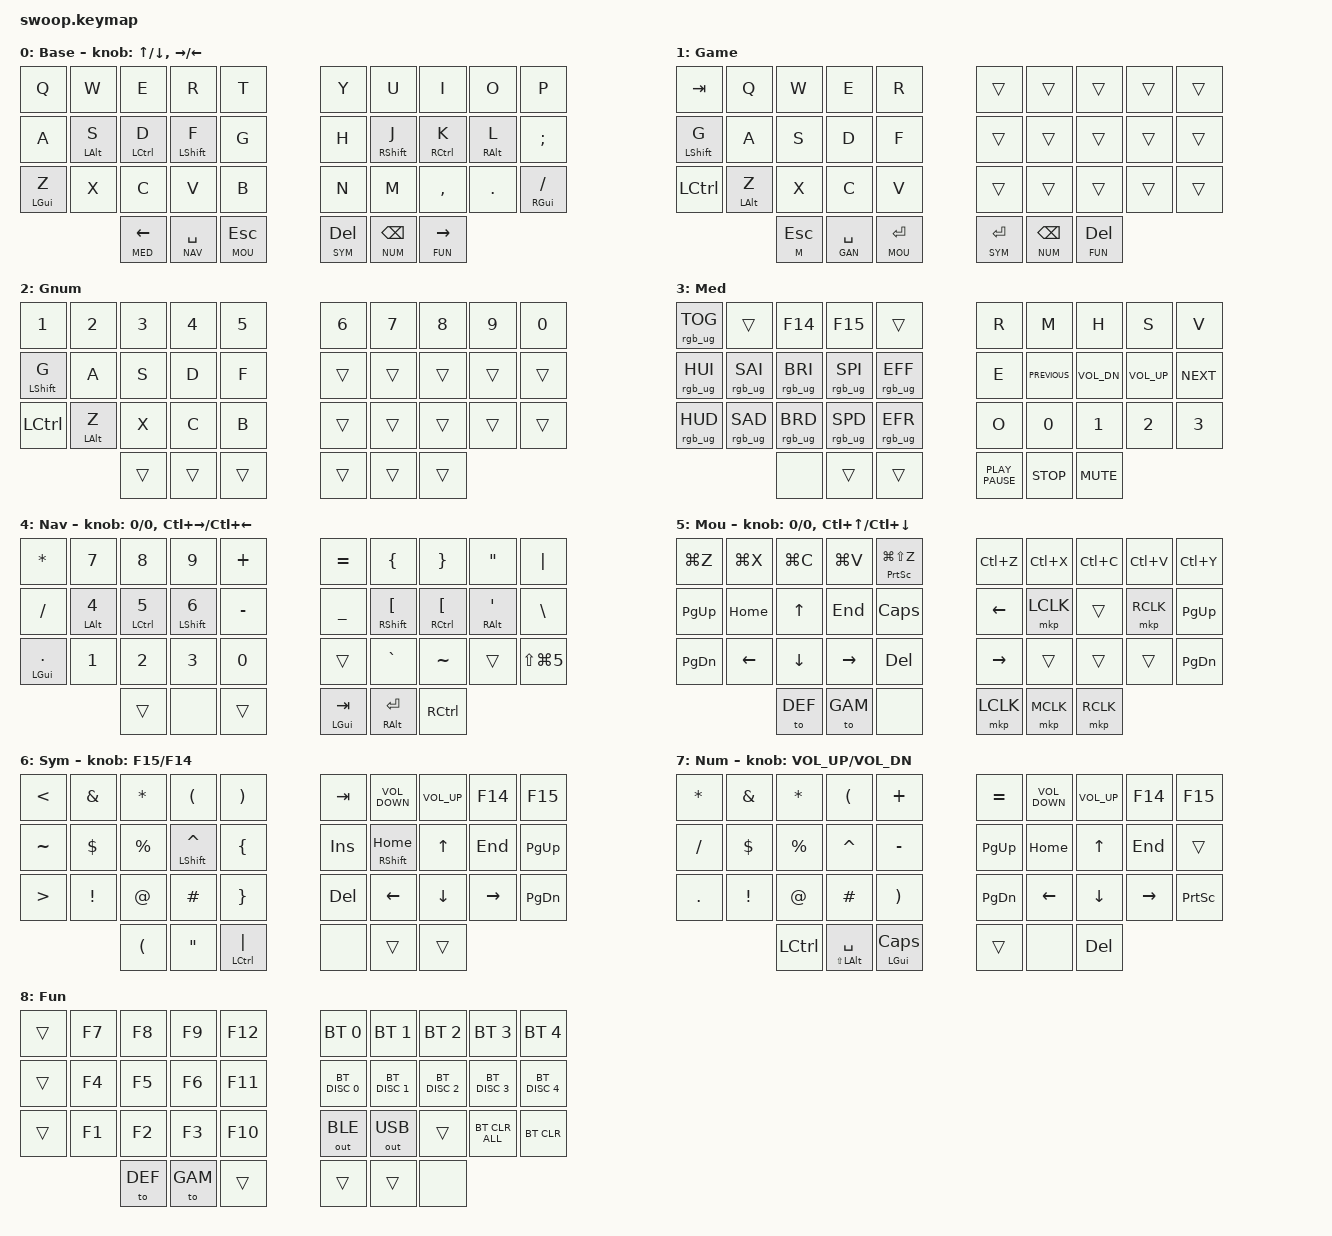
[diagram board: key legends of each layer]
/*
 * Copyright (c) 2020 The ZMK Contributors
 *
 * SPDX-License-Identifier: MIT
 */
//#include "zmk-nodefree-config/helper.h"
//#include "zmk-nodefree-config/keypos_def/keypos_36keys.h"

#include <behaviors.dtsi>
#include <dt-bindings/zmk/bt.h>
#include <dt-bindings/zmk/keys.h>
#include <dt-bindings/zmk/mouse.h>
#include <dt-bindings/zmk/outputs.h>
#include <dt-bindings/zmk/rgb.h>

#define KEYS_L LT0 LT1 LT2 LT3 LT4 LM0 LM1 LM2 LM3 LM4 LB0 LB1 LB2 LB3 LB4  /* left hand  */
#define KEYS_R RT0 RT1 RT2 RT3 RT4 RM0 RM1 RM2 RM3 RM4 RB0 RB1 RB2 RB3 RB4  /* right hand */
#define THUMBS LH2 LH1 LH0 RH0 RH1 RH2                                      /* thumbs     */
#define DEF 0
#define GAM 1
#define GAN 2
#define MED 3
#define NAV 4
#define MOU 5
#define SYM 6
#define NUM 7
#define FUN 8

// Combos
//#undef COMBO_HOOK
//#define COMBO_HOOK
//#define COMBO_TERM_FAST 10
//#define COMBO_TERM_SLOW 50
// CAPS WORD
// -----------------------------------------------------------------------------------------
// tap      |   Q   |   W   |   E   |   R   |   T   |   |   Y   |   U   |   I   |   O   |   P   |
//          _____________________________________________________________________________________
// tap      |   A   |   S   |   D   |XXXFXXX|   G   |   |   H   |XXXJXXX|   K   |   L   |   ;   |
//          _____________________________________________________________________________________
// tap      |   Z   |   X   |   C   |   V   |   B   |   |   N   |   M   |   ,   |   .   |   /   |
//
// tap                      |  ESC  |  ENT  |  TAB  |   | BSPC  |  SPC  |  DEL  |
//ZMK_COMBO(caps, &caps_word, LM1 RM1, DEF, COMBO_TERM_SLOW)
//&caps_word {
//continue-list = <UNDERSCORE MINUS>;
//};
// REFRESH (F5)
// -----------------------------------------------------------------------------------------
// tap      |XXXQXXX|XXXWXXX|   E   |   R   |   T   |   |   Y   |   U   |   I   |   O   |   P   |
//          _____________________________________________________________________________________
// tap      |   A   |   S   |   D   |   F   |   G   |   |   H   |   J   |   K   |   L   |   ;   |
//          _____________________________________________________________________________________
// tap      |   Z   |   X   |   C   |   V   |   B   |   |   N   |   M   |   ,   |   .   |   /   |
//
// tap                      |  ESC  |  ENT  |  TAB  |   | BSPC  |  SPC  |  DEL  |
//ZMK_COMBO(refr, &kp F5, LT4 LT3, DEF, COMBO_TERM_FAST) 
// PASTE
// -----------------------------------------------------------------------------------------
// tap      |   Q   |   W   |   E   |   R   |   T   |   |   Y   |   U   |   I   |   O   |   P   |
//          _____________________________________________________________________________________
// tap      |   A   |   S   |   D   |   F   |   G   |   |   H   |   J   |   K   |   L   |   ;   |
//          _____________________________________________________________________________________
// tap      |   Z   |   X   |   C   |XXXVXXX|XXXBXXX|   |   N   |   M   |   ,   |   .   |   /   |
//
// tap                      |  ESC  |  ENT  |  TAB  |   | BSPC  |  SPC  |  DEL  |
//ZMK_COMBO(paste, &kp LC(V), LB0 LB1, DEF, COMBO_TERM_SLOW)
// COPY
// -----------------------------------------------------------------------------------------
// tap      |   Q   |   W   |   E   |   R   |   T   |   |   Y   |   U   |   I   |   O   |   P   |
//          _____________________________________________________________________________________
// tap      |   A   |   S   |   D   |   F   |   G   |   |   H   |   J   |   K   |   L   |   ;   |
//          _____________________________________________________________________________________
// tap      |   Z   |   X   |XXXCXXX|XXXVXXX|   B   |   |   N   |   M   |   ,   |   .   |   /   |
//
// tap                      |  ESC  |  ENT  |  TAB  |   | BSPC  |  SPC  |  DEL  |
//ZMK_COMBO(copy, &kp LC(C), LB1 LB2, DEF, COMBO_TERM_SLOW)
// CUT
// -----------------------------------------------------------------------------------------
// tap      |   Q   |   W   |   E   |   R   |   T   |   |   Y   |   U   |   I   |   O   |   P   |
//          _____________________________________________________________________________________
// tap      |   A   |   S   |   D   |   F   |   G   |   |   H   |   J   |   K   |   L   |   ;   |
//          _____________________________________________________________________________________
// tap      |   Z   |XXXXXXX|XXXCXXX|   V   |   B   |   |   N   |   M   |   ,   |   .   |   /   |
//
// tap                      |  ESC  |  ENT  |  TAB  |   | BSPC  |  SPC  |  DEL  |
//ZMK_COMBO(cut, &kp LC(X), LB2 LB3, DEF, COMBO_TERM_SLOW)
// UNDO
// -----------------------------------------------------------------------------------------
// tap      |   Q   |XXXWXXX|XXXEXXX|   R   |   T   |   |   Y   |   U   |   I   |   O   |   P   |
//          _____________________________________________________________________________________
// tap      |   A   |   S   |   D   |   F   |   G   |   |   H   |   J   |   K   |   L   |   ;   |
//          _____________________________________________________________________________________
// tap      |   Z   |   X   |   C   |   V   |   B   |   |   N   |   M   |   ,   |   .   |   /   |
//
// tap                      |  ESC  |  ENT  |  TAB  |   | BSPC  |  SPC  |  DEL  |
//ZMK_COMBO(undo, &kp LC(Z), LT2 LT3, DEF, COMBO_TERM_SLOW)
// REDO
// -----------------------------------------------------------------------------------------
// tap      |   Q   |   W   |XXXEXXX|XXXRXXX|   T   |   |   Y   |   U   |   I   |   O   |   P   |
//          _____________________________________________________________________________________
// tap      |   A   |   S   |   D   |   F   |   G   |   |   H   |   J   |   K   |   L   |   ;   |
//          _____________________________________________________________________________________
// tap      |   Z   |   X   |   C   |   V   |   B   |   |   N   |   M   |   ,   |   .   |   /   |
//
// tap                      |  ESC  |  ENT  |  TAB  |   | BSPC  |  SPC  |  DEL  |
//ZMK_COMBO(redo, &kp LC(Y), LT1 LT2, DEF, COMBO_TERM_SLOW)
// APOSTROPHE
// -----------------------------------------------------------------------------------------
// tap      |   Q   |   W   |   E   |   R   |   T   |   |   Y   |   U   |   I   |   O   |   P   |
//          ___________________________________________________________________
// tap      |   A   |   S   |   D   |   F   |   G   |   |   H   |   J   |   K   |XXXLXXX|XXX;XXX|
//          ___________________________________________________________________
// tap      |   Z   |   X   |   C   |   V   |   B   |   |   N   |   M   |   ,   |   .   |   /   |
//
// tap                      |  ESC  |  ENT  |  TAB  |   | BSPC  |  SPC  |  DEL  |
//ZMK_COMBO(apos, &kp APOS, RM3 RM4, DEF, COMBO_TERM_SLOW)

&mt {
    flavor = "tap-preferred";
    tapping-term-ms = <250>;
    quick-tap-ms = <175>;
    require-prior-idle-ms = <150>;
};

&lt { quick-tap-ms = <250>; };

/ {
    combos {
        compatible = "zmk,combos";

        refr {
            bindings = <&kp F5>;
            key-positions = <0 1>;
            layers = <0>;
        };

        undo {
            bindings = <&kp LC(Z)>;
            key-positions = <1 2>;
            layers = <0>;
        };

        redo {
            bindings = <&kp LC(Y)>;
            key-positions = <2 3>;
            layers = <0>;
        };

        apos {
            bindings = <&kp SINGLE_QUOTE>;
            key-positions = <18 19>;
            layers = <0>;
        };

        cut {
            bindings = <&kp LC(X)>;
            key-positions = <21 22>;
            layers = <0>;
        };

        copy {
            bindings = <&kp LC(C)>;
            key-positions = <22 23>;
            layers = <0>;
        };

        paste {
            bindings = <&kp LC(V)>;
            key-positions = <23 24>;
            layers = <0>;
        };

        caps {
            bindings = <&bh_capsword>;
            key-positions = <13 16>;
            layers = <0>;
        };

        bootL {
            bindings = <&bootloader>;
            key-positions = <0 20>;
            layers = <0>;
        };

        bootR {
            bindings = <&bootloader>;
            key-positions = <9 29>;
            layers = <0>;
        };

        lshift {
            bindings = <&kp LEFT_SHIFT>;
            key-positions = <13 14>;
            layers = <0>;
        };
    };

    behaviors {
        bh_capsword: bh_capsword {
            compatible = "zmk,behavior-caps-word";
            label = "BH_CAPSWORD";
            #binding-cells = <0>;
            continue-list = <UNDERSCORE>;
        };
    };

    keymap {
        compatible = "zmk,keymap";

        default_layer {
            display-name = "Base";

            // -----------------------------------------------------------------------------------------
            // tap      |   Q   |   W   |   E   |   R   |   T   |   |   Y   |   U   |   I   |   O   |   P   |
            // hold     |       |       |       |       |       |   |       |       |       |       |       |
            //          _____________________________________________________________________________________
            // tap      |   A   |   S   |   D   |   F   |   G   |   |   H   |   J   |   K   |   L   |   ;   |
            // hold     |       |  ALT  | CTRL  | SHFT  |       |   |       | SHFT  | CTRL  |  ALT  |       |
            //          _____________________________________________________________________________________
            // tap      |   Z   |   X   |   C   |   V   |   B   |   |   N   |   M   |   ,   |   .   |   /   |
            // hold     |  GUI  |       |       |       |       |   |       |       |       |       |  GUI  |
            //
            // tap                      |  ESC  |  ENT  |  TAB  |   | BSPC  |  SPC  |  DEL  |
            // hold  LAYER              | (GUI) | (NAV) | (MOU) |   | (SYM) | (NUM) | (FUN) |

            bindings = <
&kp Q           &kp W           &kp E         &kp R             &kp T             &kp Y           &kp U              &kp I          &kp O            &kp P
&kp A           &mt LEFT_ALT S  &mt LCTRL D   &mt LEFT_SHIFT F  &kp G             &kp H           &mt RSHIFT J       &mt RCTRL K    &mt RIGHT_ALT L  &kp SEMI
&mt LEFT_GUI Z  &kp X           &kp C         &kp V             &kp B             &kp N           &kp M              &kp COMMA      &kp DOT          &mt RIGHT_GUI FSLH
                                &lt MED LEFT  &lt NAV SPACE     &lt MOU ESCAPE    &lt SYM DELETE  &lt NUM BACKSPACE  &lt FUN RIGHT
            >;

            sensor-bindings = <&inc_dec_kp UP DOWN>, <&inc_dec_kp RIGHT LEFT>;
        };

        gam_layer {
            display-name = "Game";

            // -----------------------------------------------------------------------------------------
            // tap      |  TAB  |   Q   |   W   |   E   |   R   |   |   Y   |   U   |   I   |   O   |   P   |
            // hold     |       |       |       |       |       |   |       |       |       |       |       |
            //          _____________________________________________________________________________________
            // tap      |   G   |   A   |   S   |   D   |   F   |   |   H   |   J   |   K   |   L   |   ;   |
            // hold     | SHFT  |       |       |       |       |   |       | SHFT  | CTRL  |  ALT  |       |
            //          _____________________________________________________________________________________
            // tap      | CTRL  |   Z   |   X   |   C   |   V   |   |   N   |   M   |   ,   |   .   |   /   |
            // hold     |       |  ALT  |       |       |       |   |       |       |       |       |  GUI  |
            //
            // tap                      |  ESC  |  ENT  |  SPC  |   | BSPC  |  SPC  |  DEL  |
            // hold  LAYER              |   M   | (GAN) | (MOU) |   | (SYM) | (NUM) | (FUN) |

            bindings = <
&kp TAB       &kp Q           &kp W         &kp E          &kp R            &trans         &trans             &trans          &trans  &trans
&mt LSHIFT G  &kp A           &kp S         &kp D          &kp F            &trans         &trans             &trans          &trans  &trans
&kp LCTRL     &mt LEFT_ALT Z  &kp X         &kp C          &kp V            &trans         &trans             &trans          &trans  &trans
                              &mt M ESCAPE  &lt GAN SPACE  &lt MOU ENTER    &lt SYM ENTER  &lt NUM BACKSPACE  &lt FUN DELETE
            >;
        };

        gan_layer {
            display-name = "Gnum";

            // -----------------------------------------------------------------------------------------
            // tap      |   1   |   2   |   3   |   4   |   5   |   |   6   |   7   |   8   |   9   |   0   |
            // hold     |       |       |       |       |       |   |       |       |       |       |       |
            //          _____________________________________________________________________________________
            // tap      |   G   |   A   |   S   |   D   |   F   |   |   H   |   J   |   K   |   L   |   ;   |
            // hold     | SHFT  |       |       |       |       |   |       | SHFT  | CTRL  |  ALT  |       |
            //          _____________________________________________________________________________________
            // tap      | CTRL  |   Z   |   X   |   C   |   V   |   |   N   |   M   |   ,   |   .   |   /   |
            // hold     |       |  ALT  |       |       |       |   |       |       |       |       |  GUI  |
            //
            // tap                      |   M   |XXXXXXX|  SPC  |   | BSPC  |  SPC  |  DEL  |
            // hold  LAYER              |  ESC  |XXXXXXX| (MOU) |   | (SYM) | (NUM) | (FUN) |

            bindings = <
&kp N1        &kp N2          &kp N3  &kp N4  &kp N5    &kp N6  &kp N7  &kp N8  &kp N9  &kp N0
&mt LSHIFT G  &kp A           &kp S   &kp D   &kp F     &trans  &trans  &trans  &trans  &trans
&kp LCTRL     &mt LEFT_ALT Z  &kp X   &kp C   &kp B     &trans  &trans  &trans  &trans  &trans
                              &trans  &trans  &trans    &trans  &trans  &trans
            >;
        };

        med_layer {
            display-name = "Med";

            // -----------------------------------------------------------------------------------------
            // tap      | RGBTG |   W   |   E   |   R   |   T   |   |   R   |   M   |   H   |   S   |   V   |
            // hold     |       |       |       |       |       |   |       |       |       |       |       |
            //          _____________________________________________________________________________________
            // tap      | HUEIN | SATIN | BRIIN | SPIN  |  EFF  |   |   E   | PREV  | VOLD  | VOLU  | NEXT  |
            // hold     |       |       |       |       |       |   |       |       |       |       |       |
            //          _____________________________________________________________________________________
            // tap      | HUEDN | SATDN | BRIDN | SPDN  |  EFR  |   |   O   |   0   |   1   |   2   |   3   |
            // hold     |  GUI  |       |       |       |       |   |       |       |       |       |  GUI  |
            //
            // tap                      |XXXXXXX|  ENT  |  TAB  |   | PLAY  | STOP  | MUTE  |
            // hold  LAYER              |XXXXXXX| (NAV) | (MOU) |   |       |       |       |

            bindings = <
&rgb_ug RGB_TOG  &trans           &kp F14          &kp F15          &trans             &kp R             &kp M           &kp H         &kp S            &kp V
&rgb_ug RGB_HUI  &rgb_ug RGB_SAI  &rgb_ug RGB_BRI  &rgb_ug RGB_SPI  &rgb_ug RGB_EFF    &kp E             &kp C_PREVIOUS  &kp C_VOL_DN  &kp C_VOLUME_UP  &kp K_NEXT
&rgb_ug RGB_HUD  &rgb_ug RGB_SAD  &rgb_ug RGB_BRD  &rgb_ug RGB_SPD  &rgb_ug RGB_EFR    &kp O             &kp N0          &kp N1        &kp N2           &kp N3
                                  &none            &trans           &trans             &kp K_PLAY_PAUSE  &kp K_STOP      &kp K_MUTE
            >;
        };

        sys_num_layer {
            display-name = "Nav";

            // -----------------------------------------------------------------------------------------
            // tap      |   *   |   7   |   8   |   9   |   +   |   | UNDO  |  CUT  | COPY  | PASTE | REDO  |
            // hold     |       |       |       |       |       |   |       |       |       |       |       |
            //          _____________________________________________________________________________________
            // tap      |   /   |   4   |   5   |   6   |   -   |   | CAPS  | HOME  |  UP   |  END  | PGUP  |
            // hold     |       |  ALT  | CTRL  | SHFT  |       |   |       |       |       |       |       |
            //          _____________________________________________________________________________________
            // tap      |   .   |   1   |   2   |   3   |   0   |   |  INS  | LEFT  | DOWN  | RGHT  | PGDN  |
            // hold     |  GUI  |       |       |       |       |   |       |       |       |       |       |
            //
            // tap                      | BSPC  |XXXXXXX|  DEL  |   | BSPC  |  SPC  |  DEL  |
            // hold  LAYER              |       |XXXXXXX|       |   | (SYM) | (NUM) | (FUN) |

            bindings = <
&kp STAR             &kp N7           &kp N8        &kp N9             &kp PLUS     &kp EQUAL         &kp LEFT_BRACE           &kp RIGHT_BRACE         &kp DOUBLE_QUOTES  &kp PIPE
&kp SLASH            &mt LEFT_ALT N4  &mt LCTRL N5  &mt LEFT_SHIFT N6  &kp MINUS    &kp UNDERSCORE    &mt RSHIFT LEFT_BRACKET  &mt RCTRL LEFT_BRACKET  &mt RIGHT_ALT SQT  &kp BACKSLASH
&mt LEFT_GUI PERIOD  &kp N1           &kp N2        &kp N3             &kp N0       &trans            &kp GRAVE                &kp TILDE               &trans             &kp LS(LG(N5))
                                      &trans        &none              &trans       &mt LEFT_GUI TAB  &mt RIGHT_ALT RETURN     &kp RCTRL
            >;

            sensor-bindings =
                <&inc_dec_kp 0 0>,
                <&inc_dec_kp LC(RIGHT) LC(LEFT)>;
        };

        mou_navi_layer {
            display-name = "Mou";

            // -----------------------------------------------------------------------------------------
            // tap      | UNDO  |  CUT  | COPY  | PASTE | REDO  |   | UNDO  |  CUT  | COPY  | PASTE | REDO  |
            // hold     |       |       |       |       | PRTSC |   |       |       |       |       |       |
            //          _____________________________________________________________________________________
            // tap      | LEFT  | LCLK  |       | RCLK  | PGUP  |   | LEFT  | LCLK  |       | RCLK  | PGUP  |
            // hold     |       |       |       |       |       |   |       |       |       |       |       |
            //          _____________________________________________________________________________________
            // tap      | RGHT  |       |       |       | PGDN  |   | RGHT  |       |       |       | PGDN  |
            // hold     |       |       |       |       |       |   |       |       |       |       |       |
            //
            // tap                      |  ESC  |  ENT  |XXXXXXX|   | LCLK  | MCLK  | RCLK  |
            // hold  LAYER              | [DEF] | [GAM] |XXXXXXX|   |       |       |       |

            bindings = <
&kp LG(Z)      &kp LG(X)  &kp LG(C)     &kp LG(V)  &mt PRINTSCREEN LG(LS(Z))    &kp LC(Z)  &kp LC(X)  &kp LC(C)  &kp LC(V)  &kp LC(Y)
&kp PAGE_UP    &kp HOME   &kp UP_ARROW  &kp END    &kp CAPSLOCK                 &kp LEFT   &mkp LCLK  &trans     &mkp RCLK  &kp PAGE_UP
&kp PAGE_DOWN  &kp LEFT   &kp DOWN      &kp RIGHT  &kp DEL                      &kp RIGHT  &trans     &trans     &trans     &kp PAGE_DOWN
                          &to DEF       &to GAM    &none                        &mkp LCLK  &mkp MCLK  &mkp RCLK
            >;

            sensor-bindings =
                <&inc_dec_kp 0 0>,
                <&inc_dec_kp LC(UP_ARROW) LC(DOWN)>;
        };

        sym_navi_layer {
            display-name = "Sym";

            // -----------------------------------------------------------------------------------------
            // tap      |   {   |   &   |   *   |   (   |   }   |   | UNDO  |  CUT  | COPY  | PASTE | REDO  |
            // hold     |       |       |       |       |       |   |       |       |       |       |       |
            //          _____________________________________________________________________________________
            // tap      |   :   |   $   |   %   |   ^   |   +   |   | LEFT  | LCLK  |       | RCLK  | PGUP  |
            // hold     |       |       |       |       |       |   |       |       |       |       |       |
            //          _____________________________________________________________________________________
            // tap      |   ~   |   !   |   @   |   #   |   |   |   | RGHT  |       |       |       | PGDN  |
            // hold     |       |       |       |       |       |   |       |       |       |       |       |
            //
            // tap                      |   (   |   )   |   _   |   |XXXXXXX|  SPC  |  DEL  |
            // hold  LAYER              |       |       |       |   |XXXXXXX| (NUM) | (FUN) |

            bindings = <
&kp LESS_THAN     &kp AMPS  &kp STAR              &kp LEFT_PARENTHESIS  &kp RIGHT_PARENTHESIS    &kp TAB  &kp C_VOLUME_DOWN  &kp C_VOLUME_UP  &kp F14    &kp F15
&kp TILDE         &kp DLLR  &kp PERCENT           &mt LSHIFT CARET      &kp LEFT_BRACE           &kp INS  &mt RSHIFT HOME    &kp UP_ARROW     &kp END    &kp PAGE_UP
&kp GREATER_THAN  &kp EXCL  &kp AT                &kp HASH              &kp RIGHT_BRACE          &kp DEL  &kp LEFT           &kp DOWN         &kp RIGHT  &kp PAGE_DOWN
                            &kp LEFT_PARENTHESIS  &kp DOUBLE_QUOTES     &mt LCTRL PIPE           &none    &trans             &trans
            >;

            sensor-bindings = <&inc_dec_kp F15 F14>;
        };

        num_layer {
            display-name = "Num";

            // -----------------------------------------------------------------------------------------
            // tap      |   [   |   7   |   8   |   9   |   ]   |   |   +   |   7   |   8   |   9   |   *   |
            // hold     |       |       |       |       |       |   |       |       |       |       |       |
            //          _____________________________________________________________________________________
            // tap      |   ;   |   4   |   5   |   6   |   =   |   |   -   |   4   |   5   |   6   |   /   |
            // hold     |       |       |       |       |       |   |       |       |       |       |       |
            //          _____________________________________________________________________________________
            // tap      |   `   |   1   |   2   |   3   |   \   |   |   0   |   1   |   2   |   3   |   /   |
            // hold     |       |       |       |       |       |   |       |       |       |       |       |
            //
            // tap                      |   .   |   0   |   -   |   | BSPC  |XXXXXXX|  DEL  |
            // hold  LAYER              |       |       |       |   | (SYM) |XXXXXXX| (FUN) |

            bindings = <
&kp STAR  &kp AMPERSAND    &kp ASTERISK  &kp LEFT_PARENTHESIS    &kp PLUS                 &kp EQUAL      &kp C_VOLUME_DOWN  &kp C_VOLUME_UP  &kp F14    &kp F15
&kp FSLH  &kp DOLLAR       &kp PERCENT   &kp CARET               &kp MINUS                &kp PAGE_UP    &kp HOME           &kp UP_ARROW     &kp END    &trans
&kp DOT   &kp EXCLAMATION  &kp AT_SIGN   &kp HASH                &kp RIGHT_PARENTHESIS    &kp PAGE_DOWN  &kp LEFT           &kp DOWN         &kp RIGHT  &kp PRINTSCREEN
                           &kp LCTRL     &mt LS(LEFT_ALT) SPACE  &mt LEFT_GUI CAPS        &trans         &none              &kp DEL
            >;

            sensor-bindings = <&inc_dec_kp C_VOLUME_UP C_VOL_DN>;
        };

        fun_layer {
            display-name = "Fun";

            // -----------------------------------------------------------------------------------------
            // tap      |  F12  |  F7   |  F8   |  F9   | PSCR  |   |  BT0  |  BT1  |  BT2  |  BT3  |  BT4  |
            // hold     |       |       |       |       |       |   |       |       |       |       |       |
            //          _____________________________________________________________________________________
            // tap      |  F11  |  F4   |  F5   |  F6   | SCRLK |   | DCN0  | DCN1  | DCN2  | DCN3  | DCN4  |
            // hold     |       |       |       |       |       |   |       |       |       |       |       |
            //          _____________________________________________________________________________________
            // tap      |  F10  |  F1   |  F2   |  F3   | PAUSE |   |  BLE  |  USB  |   ,   | BTCLA | BTCLR |
            // hold     |       |       |       |       |       |   |       |       |       |       |       |
            //
            // tap                      | [DEF] | [GAM] |  TAB  |   | BSPC  |  SPC  |XXXXXXX|
            // hold  LAYER              |       |       | (MOU) |   | (SYM) | (NUM) |XXXXXXX|

            bindings = <
&trans  &kp F7  &kp F8   &kp F9   &kp F12    &bt BT_SEL 0   &bt BT_SEL 1   &bt BT_SEL 2   &bt BT_SEL 3    &bt BT_SEL 4
&trans  &kp F4  &kp F5   &kp F6   &kp F11    &bt BT_DISC 0  &bt BT_DISC 1  &bt BT_DISC 2  &bt BT_DISC 3   &bt BT_DISC 4
&trans  &kp F1  &kp F2   &kp F3   &kp F10    &out OUT_BLE   &out OUT_USB   &trans         &bt BT_CLR_ALL  &bt BT_CLR
                &to DEF  &to GAM  &trans     &trans         &trans         &none
            >;
        };
    };
};
